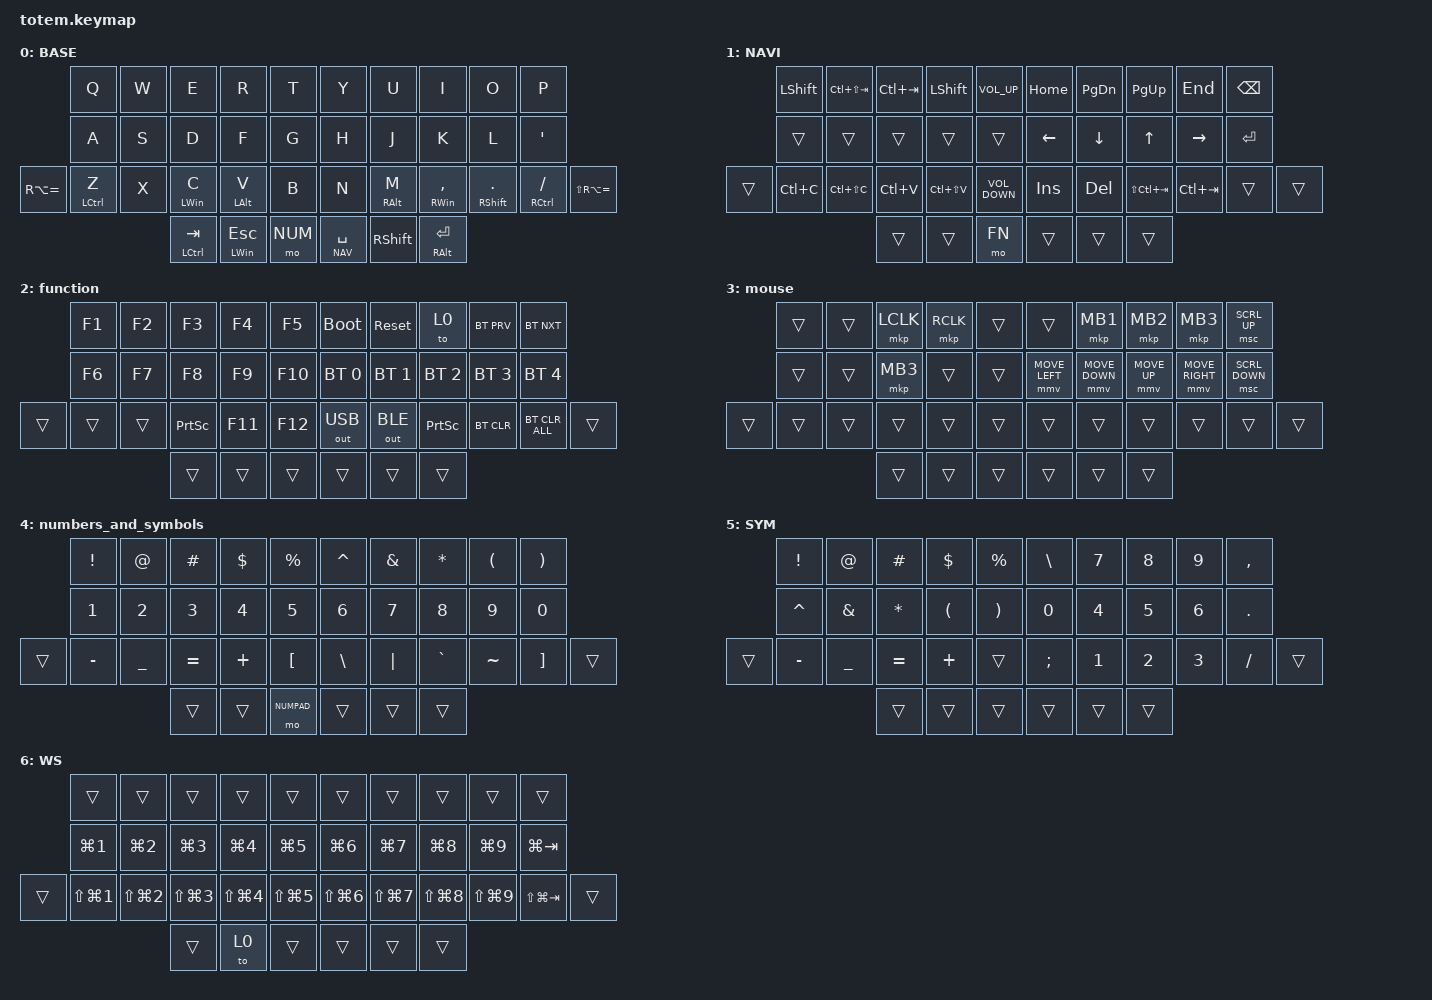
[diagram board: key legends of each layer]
//
//                                                        ▀▀▀▀▀     ▀▀▀▀▀          ▀▀█▀▀
//                                                        ▄▀▀▀▄  ▄  ▄▀▀▀▄  ▄  ▄▀▀▀▄  █  ▄▀▀▀▄
//                                                        █   █  █  █   █  █  █   █  █  █   █
//                                                         ▀▀▀   █   ▀▀▀   █   ▀▀▀   ▀   ▀▀▀
//                                                               █      ▄▄▄█▄▄▄    █   █  
//                                                               ▀      █  █  █     █▄█
//                                                             ▀▀▀▀▀    █  █  █      ▀
//                                                                      ▀  ▀  ▀
//
// ▄▄▄▄▄▄▄▄▄▄▄▄▄▄▄▄▄▄▄▄▄▄▄▄▄▄▄▄▄▄▄▄▄▄▄▄▄▄▄▄▄▄▄▄▄▄▄▄▄▄▄▄▄▄▄▄▄▄▄▄▄▄▄▄▄▄▄▄▄▄▄▄▄▄▄▄▄▄▄▄▄▄▄▄▄▄▄▄▄▄▄▄▄▄▄▄▄▄▄▄▄▄▄▄▄▄▄▄▄▄▄▄▄▄▄▄▄▄▄▄▄▄▄▄▄▄▄▄▄▄▄▄▄▄▄▄▄▄▄▄▄▄▄▄▄▄▄▄▄

#define ZMK_POINTING_DEFAULT_MOVE_VAL 1500  // default: 600
#define ZMK_POINTING_DEFAULT_SCRL_VAL 20    // default: 10

#include <behaviors.dtsi>
#include <dt-bindings/zmk/bt.h>
#include <dt-bindings/zmk/keys.h>
#include <dt-bindings/zmk/outputs.h>
#include <dt-bindings/zmk/pointing.h>

#define BASE   0
#define NAV    1
#define FN     2
#define MOUSE  3
#define NUM    4
#define NUMPAD 5
#define WS     6

&mt {
    quick-tap-ms = <150>;
    global-quick-tap;
    flavor = "tap-preferred";
    tapping-term-ms = <220>;
};

&lt {
    flavor = "balanced";
    tapping-term-ms = <200>;
};

/ {
    combos {
        compatible = "zmk,combos";
        timeout-ms = <30>;
        require-prior-idle-ms = <100>;

        left_square {
            bindings = <&kp LEFT_BRACKET>;
            key-positions = <11 18>;
        };

        right_square {
            bindings = <&kp RIGHT_BRACKET>;
            key-positions = <12 17>;
        };

        left_parenthesis {
            bindings = <&kp LEFT_PARENTHESIS>;
            key-positions = <22 29>;
        };

        right_parenthesis {
            bindings = <&kp RIGHT_PARENTHESIS>;
            key-positions = <23 28>;
        };

        semicolon {
            bindings = <&kp SEMICOLON>;
            key-positions = <16 13>;
        };

        apostrophe {
            bindings = <&kp SQT>;
            key-positions = <24 27>;
        };

        mouse {
            bindings = <&mo 3>;
            key-positions = <0 1>;
        };

        curly_brace {
            bindings = <&kp LEFT_BRACE>;
            key-positions = <1 8>;
        };

        curly_brace_close {
            bindings = <&kp RIGHT_BRACE>;
            key-positions = <2 7>;
        };

        colon {
            bindings = <&kp COLON>;
            key-positions = <3 6>;
        };

        backticks {
            bindings = <&kp GRAVE>;
            key-positions = <27 24>;
        };

        workspace {
            bindings = <&tog WS>;
            key-positions = <0 9>;
        };
    };

    keymap {
        compatible = "zmk,keymap";

        base_layer {
            label = "BASE";
            bindings = <
               &kp Q        &kp W  &kp E           &kp R                &kp T          &kp Y        &kp U            &kp I                &kp O                   &kp P
               &kp A        &kp S  &kp D           &kp F                &kp G          &kp H        &kp J            &kp K                &kp L                   &kp SQT
&kp RA(EQUAL)  &mt LCTRL Z  &kp X  &mt LEFT_WIN C  &mt LEFT_ALT V       &kp B          &kp N        &mt RIGHT_ALT M  &mt RIGHT_WIN COMMA  &mt RIGHT_SHIFT PERIOD  &mt RCTRL SLASH  &kp LS(RA(EQUAL))
                                   &mt LCTRL TAB   &mt LEFT_WIN ESCAPE  &mo NUM  &lt NAV SPACE  &kp RSHIFT       &mt RIGHT_ALT ENTER
            >;
        };

        navigation {
            label = "NAVI";
            bindings = <
        &kp LEFT_SHIFT    &kp LC(LS(TAB))   &kp LC(TAB)       &kp LEFT_SHIFT    &kp C_VOLUME_UP      &kp HOME     &kp PG_DN  &kp PG_UP        &kp END      &kp BACKSPACE
        &trans            &trans            &trans            &trans              &trans              &kp LEFT     &kp DOWN   &kp UP           &kp RIGHT    &kp ENTER
&trans  &kp LC(C)         &kp LC(LS(C))     &kp LC(V)         &kp LC(LS(V))     &kp C_VOLUME_DOWN    &kp INSERT   &kp DEL    &kp LS(LC(TAB))  &kp LC(TAB)  &trans         &trans
                                            &trans            &trans            &mo FN               &trans      &trans     &trans
            >;
        };

        function {
            bindings = <
        &kp F1  &kp F2  &kp F3           &kp F4   &kp F5     &bootloader   &sys_reset    &to 0            &bt BT_PRV    &bt BT_NXT
        &kp F6  &kp F7  &kp F8           &kp F9   &kp F10    &bt BT_SEL 0  &bt BT_SEL 1  &bt BT_SEL 2     &bt BT_SEL 3  &bt BT_SEL 4
&trans  &trans  &trans  &kp PRINTSCREEN  &kp F11  &kp F12    &out OUT_USB  &out OUT_BLE  &kp PRINTSCREEN  &bt BT_CLR    &bt BT_CLR_ALL  &trans
                        &trans           &trans   &trans     &trans        &trans        &trans
            >;
        };

        mouse {
            bindings = <
        &trans  &trans  &mkp LCLK  &mkp RCLK  &trans    &trans          &mkp MB1        &mkp MB2      &mkp MB3         &msc SCRL_UP
        &trans  &trans  &mkp MB3   &trans     &trans    &mmv MOVE_LEFT  &mmv MOVE_DOWN  &mmv MOVE_UP  &mmv MOVE_RIGHT  &msc SCRL_DOWN
&trans  &trans  &trans  &trans     &trans     &trans    &trans          &trans          &trans        &trans           &trans          &trans
                        &trans     &trans     &trans    &trans          &trans          &trans
            >;
        };

        numbers_and_symbols {
            bindings = <
        &kp EXCLAMATION  &kp AT_SIGN     &kp POUND     &kp DOLLAR    &kp PERCENT         &kp CARET      &kp AMPERSAND  &kp ASTERISK  &kp LEFT_PARENTHESIS  &kp RIGHT_PARENTHESIS
        &kp NUMBER_1     &kp NUMBER_2    &kp NUMBER_3  &kp NUMBER_4  &kp N5              &kp NUMBER_6   &kp N7         &kp N8        &kp N9                &kp N0
&trans  &kp MINUS        &kp UNDERSCORE  &kp EQUAL     &kp PLUS      &kp LEFT_BRACKET    &kp BACKSLASH  &kp PIPE       &kp GRAVE     &kp TILDE             &kp RIGHT_BRACKET      &trans
                                         &trans        &trans        &mo NUMPAD         &trans         &trans         &trans
            >;
        };

        symbols {
            label = "SYM";
            bindings = <
        &kp EXCLAMATION  &kp AT_SIGN     &kp HASH      &kp DOLLAR            &kp PERCENT              &kp BSLH  &kp N7  &kp N8  &kp N9  &kp COMMA
        &kp CARET        &kp AMPERSAND   &kp ASTERISK  &kp LEFT_PARENTHESIS  &kp RIGHT_PARENTHESIS    &kp N0    &kp N4  &kp N5  &kp N6  &kp DOT
&trans  &kp MINUS        &kp UNDERSCORE  &kp EQUAL     &kp PLUS              &trans                   &kp SEMI  &kp N1  &kp N2  &kp N3  &kp FSLH   &trans
                                         &trans        &trans                &trans                  &trans    &trans  &trans
            >;
        };

        workspace {
            label = "WS";
            bindings = <
        &trans      &trans      &trans      &trans      &trans       &trans      &trans      &trans      &trans      &trans
        &kp LG(N1)  &kp LG(N2)  &kp LG(N3)  &kp LG(N4)  &kp LG(N5)   &kp LG(N6)  &kp LG(N7)  &kp LG(N8)  &kp LG(N9)  &kp LG(TAB)
&trans  &kp LS(LG(N1))  &kp LS(LG(N2))  &kp LS(LG(N3))  &kp LS(LG(N4))  &kp LS(LG(N5))  &kp LS(LG(N6))  &kp LS(LG(N7))  &kp LS(LG(N8))  &kp LS(LG(N9))  &kp LS(LG(TAB))  &trans
                                         &trans           &to 0            &trans           &trans           &trans           &trans
            >;
        };
    };
};
